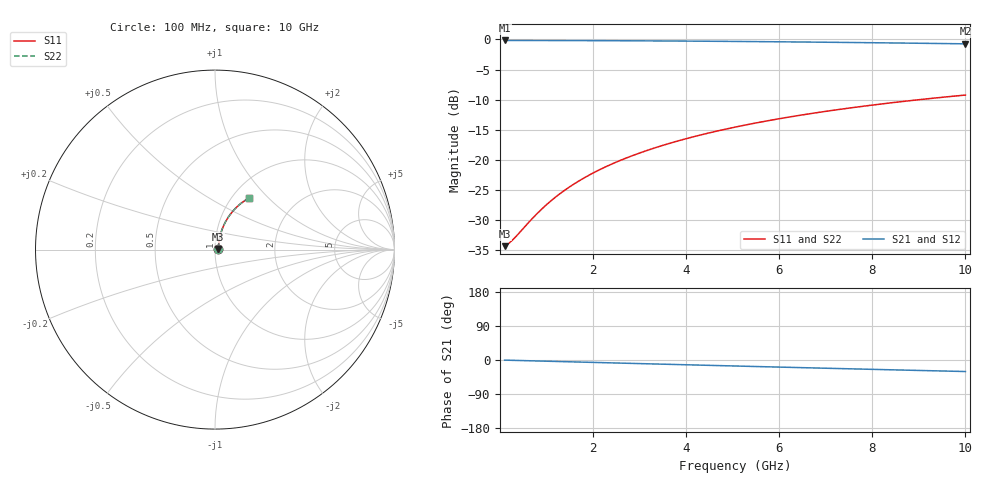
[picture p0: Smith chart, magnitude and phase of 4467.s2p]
# Hz S RI R 50.00
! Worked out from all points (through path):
!   100 points, 100 MHz to 10 GHz, reference 50 ohm
!   highest |S21| = -0.16 dB at 100 MHz (marker M1); lowest = -0.7 dB at 10 GHz (marker M2)
!   group delay of S21, straight-line fit = 8.47 ps
!   lowest |S11| = -34.4 dB at 100 MHz (marker M3), VSWR 1.04, Z = 51.9 + j0.38 ohm
!   |S11| at or under -10 dB: start of sweep to 9.029 GHz
!   |S22| runs from -34.4 to -9.2 dB; largest |S21 - S12| = 0
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1e8  0.0187 0.00366  0.9813 -0.00543  0.9813 -0.00543  0.0187 0.00366
2e8  0.0189 0.00732  0.9811 -0.0109  0.9811 -0.0109  0.0189 0.00732
3e8  0.0191 0.011  0.9809 -0.0163  0.9809 -0.0163  0.0191 0.011
6e8  0.0198 0.0219  0.9801 -0.0325  0.9801 -0.0325  0.0198 0.0219
8e8  0.0205 0.0292  0.9794 -0.0433  0.9794 -0.0433  0.0205 0.0292
9e8  0.0209 0.0328  0.979 -0.0487  0.979 -0.0487  0.0209 0.0328
1.1e9  0.0218 0.0401  0.978 -0.0595  0.978 -0.0595  0.0218 0.0401
1.4e9  0.0234 0.0509  0.9763 -0.0757  0.9763 -0.0757  0.0234 0.0509
1.6e9  0.0246 0.0581  0.9749 -0.0864  0.9749 -0.0864  0.0246 0.0581
1.8e9  0.026 0.0653  0.9734 -0.097  0.9734 -0.097  0.026 0.0653
2.1e9  0.0284 0.0759  0.9708 -0.113  0.9708 -0.113  0.0284 0.0759
2.5e9  0.0322 0.0899  0.9668 -0.1341  0.9668 -0.1341  0.0322 0.0899
2.9e9  0.0365 0.1037  0.9621 -0.155  0.9621 -0.155  0.0365 0.1037
3.4e9  0.0427 0.1207  0.9554 -0.1808  0.9554 -0.1808  0.0427 0.1207
3.8e9  0.0484 0.1339  0.9493 -0.2011  0.9493 -0.2011  0.0484 0.1339
4.2e9  0.0545 0.1468  0.9426 -0.2211  0.9426 -0.2211  0.0545 0.1468
5.1e9  0.0703 0.1746  0.9255 -0.2649  0.9255 -0.2649  0.0703 0.1746
5.9e9  0.0863 0.1977  0.9081 -0.3023  0.9081 -0.3023  0.0863 0.1977
6.7e9  0.104 0.2191  0.8888 -0.338  0.8888 -0.338  0.104 0.2191
7.5e9  0.1232 0.2387  0.8677 -0.3719  0.8677 -0.3719  0.1232 0.2387
8.4e9  0.1463 0.2585  0.8423 -0.4079  0.8423 -0.4079  0.1463 0.2585
1e10  0.1903 0.2875  0.7934 -0.4658  0.7934 -0.4658  0.1903 0.2875
